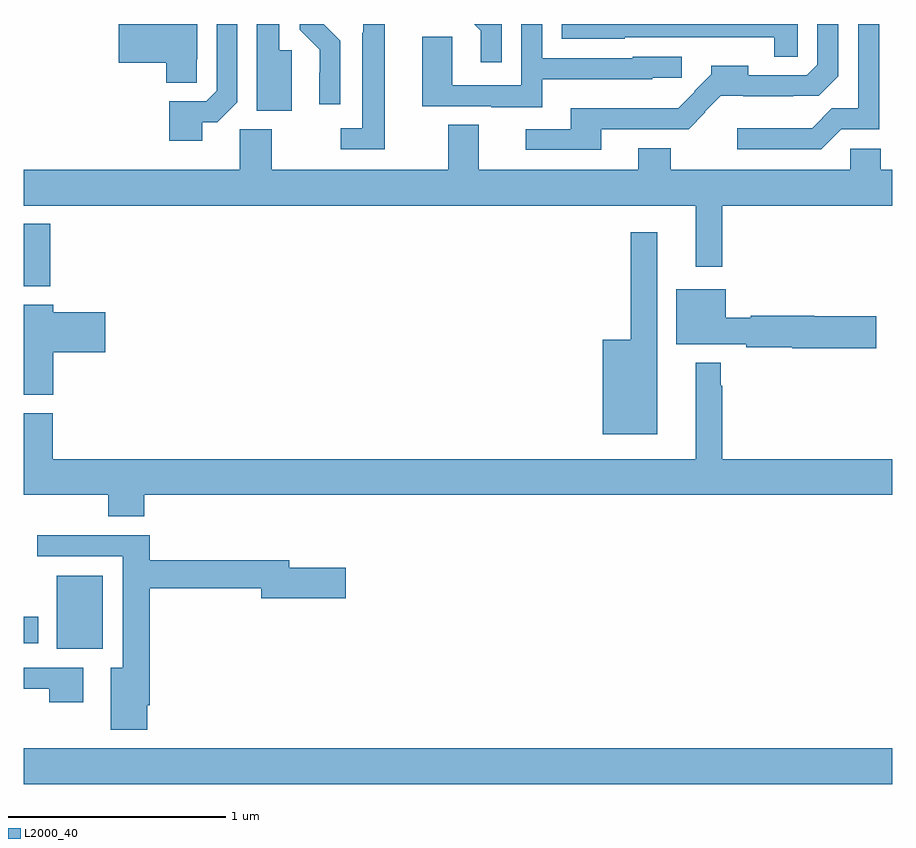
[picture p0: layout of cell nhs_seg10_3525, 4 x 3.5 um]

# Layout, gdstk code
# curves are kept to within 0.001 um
import gdstk
lib = gdstk.Library(unit=1e-6, precision=1e-09)
def R(c, l, rs):  # rectangles x0, y0, x1, y1
    for r in rs: c.add(gdstk.rectangle(r[:2], r[2:], *l))
def P(c, l, *ps):  # polygons
    for p in ps: c.add(gdstk.Polygon(p, *l))
L2000_40 = (2000, 40)

nhs_seg10_3525 = lib.new_cell('nhs_seg10_3525')
R(nhs_seg10_3525, L2000_40, [(303,1283,307,1283.164), (303.152,1283.624,303.364,1283.959), (303,1283.648,303.067,1283.77), (303,1285.293,303.122,1285.579)])
P(nhs_seg10_3525, L2000_40, [(305.202,1286.5),(305.074,1286.5),(305.105,1286.469),(305.105,1286.325),(305.202,1286.325)],
  [(306.765,1286.016),(306.939,1286.016),(306.939,1286.5),(306.843,1286.5),(306.843,1286.111),(306.722,1286.111),(306.631,1286.02),(306.285,1286.02),(306.285,1285.923),(306.672,1285.923)],
  [(303.798,1286.338),(303.799,1286.338),(303.799,1286.5),(303.438,1286.5),(303.438,1286.321),(303.656,1286.321),(303.656,1286.23),(303.798,1286.23)],
  [(306.564,1286.5),(305.478,1286.5),(305.478,1286.432),(305.769,1286.432),(305.769,1286.439),(306.201,1286.439),(306.201,1286.438),(306.456,1286.438),(306.456,1286.35),(306.564,1286.35)],
  [(304.458,1286.424),(304.382,1286.5),(304.272,1286.5),(304.272,1286.474),(304.364,1286.382),(304.364,1286.276),(304.362,1286.276),(304.362,1286.13),(304.458,1286.13)],
  [(303.823,1286.047),(303.891,1286.047),(303.984,1286.139),(303.984,1286.5),(303.888,1286.5),(303.888,1286.193),(303.84,1286.145),(303.671,1286.145),(303.671,1285.962),(303.823,1285.962)],
  [(305.389,1286.246),(305.895,1286.246),(305.895,1286.253),(306.03,1286.253),(306.03,1286.349),(305.805,1286.349),(305.805,1286.343),(305.388,1286.343),(305.388,1286.5),(305.292,1286.5),(305.292,1286.217),(304.974,1286.217),(304.974,1286.441),(304.835,1286.441),(304.835,1286.121),(305.153,1286.121),(305.153,1286.117),(305.389,1286.117)],
  [(305.659,1286.016),(306.063,1286.016),(306.139,1286.093),(306.137,1286.095),(306.211,1286.169),(306.545,1286.168),(306.545,1286.17),(306.661,1286.17),(306.75,1286.259),(306.75,1286.5),(306.654,1286.5),(306.654,1286.313),(306.606,1286.265),(306.337,1286.265),(306.337,1286.308),(306.166,1286.308),(306.166,1286.269),(306.087,1286.19),(306.09,1286.187),(306.014,1286.111),(305.912,1286.111),(305.912,1286.113),(305.519,1286.113),(305.519,1286.016),(305.313,1286.016),(305.313,1285.92),(305.659,1285.92)],
  [(304.234,1286.379),(304.177,1286.379),(304.177,1286.5),(304.073,1286.5),(304.073,1286.101),(304.234,1286.101)],
  [(304.663,1286.5),(304.563,1286.5),(304.563,1286.459),(304.559,1286.459),(304.559,1286.019),(304.461,1286.019),(304.461,1285.923),(304.663,1285.923)],
  [(306.217,1285.664),(307,1285.664),(307,1285.828),(306.946,1285.828),(306.946,1285.926),(306.807,1285.926),(306.807,1285.828),(305.979,1285.828),(305.979,1285.927),(305.831,1285.927),(305.831,1285.828),(305.095,1285.828),(305.095,1286.036),(304.955,1286.036),(304.955,1285.828),(304.143,1285.828),(304.143,1286.016),(303.996,1286.016),(303.996,1285.828),(303,1285.828),(303,1285.664),(306.095,1285.664),(306.095,1285.383),(306.217,1285.383)],
  [(305.917,1285.54),(305.796,1285.54),(305.796,1285.045),(305.666,1285.045),(305.666,1284.611),(305.917,1284.611)],
  [(306.925,1285.154),(306.64,1285.154),(306.64,1285.156),(306.348,1285.156),(306.348,1285.148),(306.232,1285.148),(306.232,1285.279),(306.005,1285.279),(306.005,1285.025),(306.328,1285.025),(306.328,1285.012),(306.54,1285.012),(306.54,1285.007),(306.925,1285.007)],
  [(303.137,1284.989),(303.376,1284.989),(303.376,1285.172),(303.137,1285.172),(303.137,1285.208),(303,1285.208),(303,1284.793),(303.137,1284.793)],
  [(303.554,1284.332),(307,1284.332),(307,1284.496),(306.217,1284.496),(306.217,1284.833),(306.21,1284.833),(306.21,1284.94),(306.095,1284.94),(306.095,1284.496),(303.134,1284.496),(303.134,1284.708),(303,1284.708),(303,1284.332),(303.389,1284.332),(303.389,1284.233),(303.554,1284.233)],
  [(303.568,1283.362),(303.581,1283.362),(303.581,1283.902),(304.094,1283.902),(304.094,1283.855),(304.483,1283.855),(304.483,1283.997),(304.222,1283.997),(304.222,1284.031),(303.581,1284.031),(303.581,1284.146),(303.063,1284.146),(303.063,1284.048),(303.455,1284.048),(303.455,1283.536),(303.401,1283.536),(303.401,1283.25),(303.568,1283.25)],
  [(303.274,1283.535),(303,1283.535),(303,1283.439),(303.118,1283.439),(303.118,1283.376),(303.274,1283.376)])

lib.write_gds('nhs_seg10_3525.gds')
